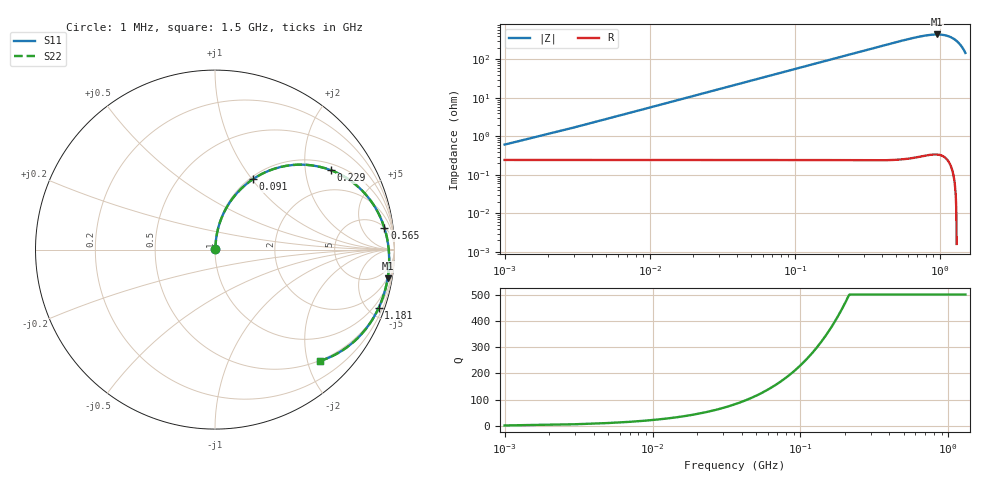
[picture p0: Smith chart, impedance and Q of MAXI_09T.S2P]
! Coilcraft 132-09SM_ Maxi Spring Air Core Inductor
! 28 May 2003
# MHZ S MA R 50
!Freq  MagS11  AngS11  MagS21  AngS21  MagS12  AngS12  MagS22  AngS22
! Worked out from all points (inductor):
!   751 points, 1 MHz to 1.5 GHz, reference 50 ohm
!   read as one part in series: L = 89.6 nH near 7 MHz
!   highest |Z| = 447 ohm at 957 MHz (marker M1)
!   S11 on the Smith chart (normalised r, x): 1 MHz: 1.00, +0.01; 91 MHz: 1.03, +1.01; 229 MHz: 1.21, +2.75; 565 MHz: 5, +14; 1.181 GHz: 0.56, -5.76; 1.5 GHz: 0.49, -2.23
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1  0.005988 65.6  0.9975 -0.3  0.9975 -0.3  0.005989 65.6
5  0.02743 83.2  0.9972 -1.7  0.9972 -1.7  0.02743 83.2
9  0.04919 84.2  0.9963 -3.0  0.9963 -3.0  0.0492 84.2
11  0.06006 84.0  0.9958 -3.6  0.9958 -3.6  0.06008 84.0
17  0.09254 82.9  0.9933 -5.6  0.9933 -5.6  0.09257 82.9
25  0.1354 80.8  0.9884 -8.2  0.9884 -8.2  0.1354 80.8
37  0.1982 77.2  0.9778 -12.1  0.9778 -12.1  0.1983 77.2
51  0.2686 73.0  0.9609 -16.5  0.9609 -16.5  0.2686 73.0
91  0.4456 61.7  0.893 -28.0  0.893 -28.0  0.4457 61.7
149  0.6321 48.1  0.7729 -41.8  0.7729 -41.8  0.6323 48.1
229  0.7824 34.4  0.6212 -55.5  0.6212 -55.5  0.7826 34.4
251  0.8093 31.5  0.5858 -58.4  0.5858 -58.4  0.8095 31.5
359  0.8922 20.4  0.4503 -69.5  0.4503 -69.5  0.8924 20.4
501  0.9399 10.7  0.3401 -79.2  0.3401 -79.2  0.9402 10.7
565  0.9515 7.3  0.3065 -82.7  0.3065 -82.7  0.9517 7.3
751  0.9694 -1.1  0.244 -91.0  0.244 -91.0  0.9696 -1.1
957  0.9751 -9.4  0.2196 -99.3  0.2196 -99.3  0.9753 -9.4
1001  0.975 -11.2  0.2201 -101.2  0.2201 -101.2  0.9752 -11.2
1181  0.968 -19.5  0.2483 -109.5  0.2483 -109.5  0.9682 -19.5
1251  0.9607 -23.5  0.2748 -113.5  0.2748 -113.5  0.9609 -23.5
1391  0.9267 -33.9  0.3728 -123.9  0.3728 -123.9  0.9269 -33.9
1500  0.8526 -46.7  0.5195 -136.7  0.5195 -136.7  0.8528 -46.7
